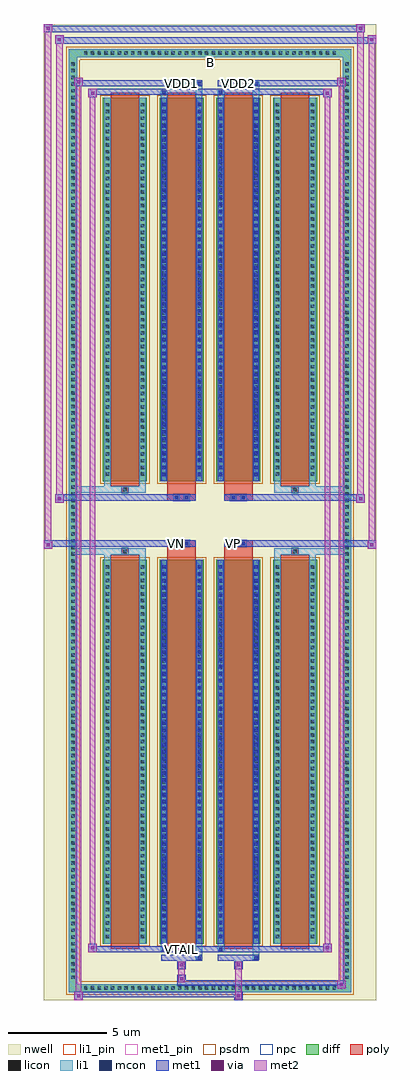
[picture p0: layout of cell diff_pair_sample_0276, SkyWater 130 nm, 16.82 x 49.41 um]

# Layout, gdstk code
import gdstk
lib = gdstk.Library(unit=1e-6, precision=5e-09)
def R(c, l, rs):  # rectangles x0, y0, x1, y1
    for r in rs: c.add(gdstk.rectangle(r[:2], r[2:], *l))
def A(c, l, x, y, w, h, nx, ny, dx, dy):  # array of equal rectangles
    R(c, l, [(x+i*dx, y+j*dy, x+i*dx+w, y+j*dy+h) for i in range(nx) for j in range(ny)])
def P(c, l, *ps):  # polygons
    for p in ps: c.add(gdstk.Polygon(p, *l))
nwell = (64, 20)
diff = (65, 20)
poly = (66, 20)
licon = (66, 44)
li1_pin = (67, 16)
li1 = (67, 20)
mcon = (67, 44)
met1_pin = (68, 16)
met1 = (68, 20)
via = (68, 44)
met2 = (69, 20)
psdm = (94, 20)
npc = (95, 20)

diff_pair_sample_0276 = lib.new_cell('diff_pair_sample_0276')
R(diff_pair_sample_0276, nwell, [(-8.41,-24.27,8.41,25.14), (-5.73,-22.46,-0.01,-0.8), (0.01,-22.46,5.73,-0.8), (-5.73,0.8,-0.01,22.46), (0.01,0.8,5.73,22.46)])
A(diff_pair_sample_0276, diff, -6.495, -23.87, 0.41, 0.41, 38, 2, 0.34, 47.33)
A(diff_pair_sample_0276, diff, -7.14, -23.325, 0.41, 0.41, 1, 137, 0, 0.34)
A(diff_pair_sample_0276, diff, 6.73, -23.325, 0.41, 0.41, 1, 137, 0, 0.34)
A(diff_pair_sample_0276, diff, -5.42, -21.415, 2.23, 19.43, 4, 2, 2.87, 23.4)
R(diff_pair_sample_0276, diff, [(-6.495,-23.87,6.495,-23.46), (-7.14,-23.325,-6.73,23.325), (6.73,-23.325,7.14,23.325), (-6.495,23.46,6.495,23.87)])
P(diff_pair_sample_0276, diff, [(7.14,23.87),(-7.14,23.87),(-7.14,-23.46),(-6.73,-23.46),(-6.73,23.46),(6.73,23.46),(6.73,-23.46),(-6.73,-23.46),(-7.14,-23.46),(-7.14,-23.87),(7.14,-23.87)])
A(diff_pair_sample_0276, poly, -5.03, -21.665, 1.45, 19.93, 4, 2, 2.87, 23.4)
R(diff_pair_sample_0276, poly, [(-4.47,-1.735,-4.14,-1.405), (-4.47,-1.735,-4.14,-1.405), (-2.16,-1.735,-0.71,-1.33), (0.71,-1.735,2.16,-1.33), (4.14,-1.735,4.47,-1.405), (4.14,-1.735,4.47,-1.405), (-2.16,-1.33,-0.71,-1), (-1.85,-1.33,-1.52,-1), (-1.35,-1.33,-1.02,-1), (0.71,-1.33,2.16,-1), (1.02,-1.33,1.35,-1), (1.52,-1.33,1.85,-1), (-2.16,1,-0.71,1.33), (-1.85,1,-1.52,1.33), (-1.35,1,-1.02,1.33), (0.71,1,2.16,1.33), (1.02,1,1.35,1.33), (1.52,1,1.85,1.33), (-2.16,1.33,-0.71,1.735), (0.71,1.33,2.16,1.735), (-4.47,1.405,-4.14,1.735), (-4.47,1.405,-4.14,1.735), (4.14,1.405,4.47,1.735), (4.14,1.405,4.47,1.735)])
A(diff_pair_sample_0276, licon, -6.375, -23.75, 0.17, 0.17, 38, 2, 0.34, 47.33)
A(diff_pair_sample_0276, licon, -7.02, -23.205, 0.17, 0.17, 1, 137, 0, 0.34)
A(diff_pair_sample_0276, licon, 6.85, -23.205, 0.17, 0.17, 1, 137, 0, 0.34)
A(diff_pair_sample_0276, licon, -5.28, -21.135, 0.17, 0.17, 1, 56, 0, 0.34)
A(diff_pair_sample_0276, licon, -3.5, -21.135, 0.17, 0.17, 1, 56, 0, 0.34)
A(diff_pair_sample_0276, licon, -2.41, -21.135, 0.17, 0.17, 1, 56, 0, 0.34)
A(diff_pair_sample_0276, licon, -0.63, -21.135, 0.17, 0.17, 1, 56, 0, 0.34)
A(diff_pair_sample_0276, licon, 0.46, -21.135, 0.17, 0.17, 1, 56, 0, 0.34)
A(diff_pair_sample_0276, licon, 2.24, -21.135, 0.17, 0.17, 1, 56, 0, 0.34)
A(diff_pair_sample_0276, licon, 3.33, -21.135, 0.17, 0.17, 1, 56, 0, 0.34)
A(diff_pair_sample_0276, licon, 5.11, -21.135, 0.17, 0.17, 1, 56, 0, 0.34)
A(diff_pair_sample_0276, licon, -5.28, 2.265, 0.17, 0.17, 1, 56, 0, 0.34)
A(diff_pair_sample_0276, licon, -3.5, 2.265, 0.17, 0.17, 1, 56, 0, 0.34)
A(diff_pair_sample_0276, licon, -2.41, 2.265, 0.17, 0.17, 1, 56, 0, 0.34)
A(diff_pair_sample_0276, licon, -0.63, 2.265, 0.17, 0.17, 1, 56, 0, 0.34)
A(diff_pair_sample_0276, licon, 0.46, 2.265, 0.17, 0.17, 1, 56, 0, 0.34)
A(diff_pair_sample_0276, licon, 2.24, 2.265, 0.17, 0.17, 1, 56, 0, 0.34)
A(diff_pair_sample_0276, licon, 3.33, 2.265, 0.17, 0.17, 1, 56, 0, 0.34)
A(diff_pair_sample_0276, licon, 5.11, 2.265, 0.17, 0.17, 1, 56, 0, 0.34)
R(diff_pair_sample_0276, licon, [(-4.39,-1.655,-4.22,-1.485), (4.22,-1.655,4.39,-1.485), (-1.77,-1.25,-1.6,-1.08), (-1.27,-1.25,-1.1,-1.08), (1.1,-1.25,1.27,-1.08), (1.6,-1.25,1.77,-1.08), (-1.77,1.08,-1.6,1.25), (-1.27,1.08,-1.1,1.25), (1.1,1.08,1.27,1.25), (1.6,1.08,1.77,1.25), (-4.39,1.485,-4.22,1.655), (4.22,1.485,4.39,1.655)])
R(diff_pair_sample_0276, li1_pin, [(-0.25,22.96,0.25,23.46)])
A(diff_pair_sample_0276, li1, -6.455, -23.83, 0.33, 0.33, 38, 2, 0.34, 47.33)
A(diff_pair_sample_0276, li1, -7.1, -23.285, 0.33, 0.33, 1, 137, 0, 0.34)
A(diff_pair_sample_0276, li1, 6.77, -23.285, 0.33, 0.33, 1, 137, 0, 0.34)
A(diff_pair_sample_0276, li1, -5.36, -21.215, 0.33, 0.33, 1, 56, 0, 0.34)
A(diff_pair_sample_0276, li1, -3.58, -21.215, 0.33, 0.33, 1, 56, 0, 0.34)
A(diff_pair_sample_0276, li1, -2.49, -21.215, 0.33, 0.33, 1, 56, 0, 0.34)
A(diff_pair_sample_0276, li1, -0.71, -21.215, 0.33, 0.33, 1, 56, 0, 0.34)
A(diff_pair_sample_0276, li1, 0.38, -21.215, 0.33, 0.33, 1, 56, 0, 0.34)
A(diff_pair_sample_0276, li1, 2.16, -21.215, 0.33, 0.33, 1, 56, 0, 0.34)
A(diff_pair_sample_0276, li1, 3.25, -21.215, 0.33, 0.33, 1, 56, 0, 0.34)
A(diff_pair_sample_0276, li1, 5.03, -21.215, 0.33, 0.33, 1, 56, 0, 0.34)
A(diff_pair_sample_0276, li1, -2.41, -21.145, 0.17, 0.17, 1, 53, 0, 0.36)
A(diff_pair_sample_0276, li1, -0.63, -21.145, 0.17, 0.17, 1, 53, 0, 0.36)
A(diff_pair_sample_0276, li1, 0.46, -21.145, 0.17, 0.17, 1, 53, 0, 0.36)
A(diff_pair_sample_0276, li1, 2.24, -21.145, 0.17, 0.17, 1, 53, 0, 0.36)
A(diff_pair_sample_0276, li1, -5.36, 2.185, 0.33, 0.33, 1, 56, 0, 0.34)
A(diff_pair_sample_0276, li1, -3.58, 2.185, 0.33, 0.33, 1, 56, 0, 0.34)
A(diff_pair_sample_0276, li1, -2.49, 2.185, 0.33, 0.33, 1, 56, 0, 0.34)
A(diff_pair_sample_0276, li1, -0.71, 2.185, 0.33, 0.33, 1, 56, 0, 0.34)
A(diff_pair_sample_0276, li1, 0.38, 2.185, 0.33, 0.33, 1, 56, 0, 0.34)
A(diff_pair_sample_0276, li1, 2.16, 2.185, 0.33, 0.33, 1, 56, 0, 0.34)
A(diff_pair_sample_0276, li1, 3.25, 2.185, 0.33, 0.33, 1, 56, 0, 0.34)
A(diff_pair_sample_0276, li1, 5.03, 2.185, 0.33, 0.33, 1, 56, 0, 0.34)
A(diff_pair_sample_0276, li1, -2.41, 2.255, 0.17, 0.17, 1, 53, 0, 0.36)
A(diff_pair_sample_0276, li1, -0.63, 2.255, 0.17, 0.17, 1, 53, 0, 0.36)
A(diff_pair_sample_0276, li1, 0.46, 2.255, 0.17, 0.17, 1, 53, 0, 0.36)
A(diff_pair_sample_0276, li1, 2.24, 2.255, 0.17, 0.17, 1, 53, 0, 0.36)
R(diff_pair_sample_0276, li1, [(-7.14,-23.87,-6.73,-23.46), (-7.14,-23.87,-6.73,-23.46), (-6.73,-23.87,6.73,-23.46), (6.73,-23.87,7.14,-23.46), (6.73,-23.87,7.14,-23.46), (-7.14,-23.46,-6.73,23.46), (6.73,-23.46,7.14,23.46), (-0.71,-22.22,-0.38,-21.415), (-0.63,-22.22,-0.46,-22.05), (2.16,-22.22,2.49,-21.415), (2.24,-22.22,2.41,-22.05), (-2.49,-21.79,-2.16,-21.415), (-2.41,-21.79,-2.24,-21.62), (0.38,-21.79,0.71,-21.415), (0.46,-21.79,0.63,-21.62), (-5.36,-21.415,-5.03,-1.985), (-3.58,-21.415,-3.25,-1.985), (-2.49,-21.415,-2.16,-1.985), (-0.71,-21.415,-0.38,-1.985), (0.38,-21.415,0.71,-1.985), (2.16,-21.415,2.49,-1.985), (3.25,-21.415,3.58,-1.985), (5.03,-21.415,5.36,-1.985), (-2.41,-21.145,-2.24,-2.255), (-0.63,-21.145,-0.46,-2.255), (0.46,-21.145,0.63,-2.255), (2.24,-21.145,2.41,-2.255), (-5.36,-1.985,-5.03,-1.405), (-3.58,-1.985,-3.25,-1.405), (3.25,-1.985,3.58,-1.405), (5.03,-1.985,5.36,-1.405), (-7.14,-1.735,-4.47,-1.405), (-5.36,-1.735,-4.47,-1.405), (-4.47,-1.735,-4.14,-1.405), (-4.14,-1.735,-3.25,-1.405), (3.25,-1.735,4.14,-1.405), (4.14,-1.735,4.47,-1.405), (4.14,-1.735,7.14,-1.405), (4.47,-1.735,5.36,-1.405), (-1.85,-1.33,-1.52,-1), (-1.35,-1.33,-1.02,-1), (1.02,-1.33,1.35,-1), (1.52,-1.33,1.85,-1), (-1.85,1,-1.52,1.33), (-1.35,1,-1.02,1.33), (1.02,1,1.35,1.33), (1.52,1,1.85,1.33), (-7.14,1.405,-4.47,1.735), (-5.36,1.405,-4.47,1.735), (-5.36,1.405,-5.03,1.985), (-4.47,1.405,-4.14,1.735), (-4.14,1.405,-3.25,1.735), (-3.58,1.405,-3.25,1.985), (3.25,1.405,4.14,1.735), (3.25,1.405,3.58,1.985), (4.14,1.405,4.47,1.735), (4.14,1.405,7.14,1.735), (4.47,1.405,5.36,1.735), (5.03,1.405,5.36,1.985), (-5.36,1.985,-5.03,21.415), (-3.58,1.985,-3.25,21.415), (-2.49,1.985,-2.16,21.415), (-0.71,1.985,-0.38,21.415), (0.38,1.985,0.71,21.415), (2.16,1.985,2.49,21.415), (3.25,1.985,3.58,21.415), (5.03,1.985,5.36,21.415), (-2.41,2.255,-2.24,21.145), (-0.63,2.255,-0.46,21.145), (0.46,2.255,0.63,21.145), (2.24,2.255,2.41,21.145), (-2.49,21.415,-2.16,21.79), (-0.71,21.415,-0.38,22.22), (0.38,21.415,0.71,21.79), (2.16,21.415,2.49,22.22), (-2.41,21.62,-2.24,21.79), (0.46,21.62,0.63,21.79), (-0.63,22.05,-0.46,22.22), (2.24,22.05,2.41,22.22), (-7.14,23.46,-6.73,23.87), (-7.14,23.46,-6.73,23.87), (-6.73,23.46,6.73,23.87), (6.73,23.46,7.14,23.87), (6.73,23.46,7.14,23.87)])
A(diff_pair_sample_0276, mcon, -2.41, -21.145, 0.17, 0.17, 1, 53, 0, 0.36)
A(diff_pair_sample_0276, mcon, -0.63, -21.145, 0.17, 0.17, 1, 53, 0, 0.36)
A(diff_pair_sample_0276, mcon, 0.46, -21.145, 0.17, 0.17, 1, 53, 0, 0.36)
A(diff_pair_sample_0276, mcon, 2.24, -21.145, 0.17, 0.17, 1, 53, 0, 0.36)
A(diff_pair_sample_0276, mcon, -2.41, 2.255, 0.17, 0.17, 1, 53, 0, 0.36)
A(diff_pair_sample_0276, mcon, -0.63, 2.255, 0.17, 0.17, 1, 53, 0, 0.36)
A(diff_pair_sample_0276, mcon, 0.46, 2.255, 0.17, 0.17, 1, 53, 0, 0.36)
A(diff_pair_sample_0276, mcon, 2.24, 2.255, 0.17, 0.17, 1, 53, 0, 0.36)
R(diff_pair_sample_0276, mcon, [(-0.63,-22.22,-0.46,-22.05), (2.24,-22.22,2.41,-22.05), (-2.41,-21.79,-2.24,-21.62), (0.46,-21.79,0.63,-21.62), (-1.77,-1.25,-1.6,-1.08), (-1.27,-1.25,-1.1,-1.08), (1.1,-1.25,1.27,-1.08), (1.6,-1.25,1.77,-1.08), (-1.77,1.08,-1.6,1.25), (-1.27,1.08,-1.1,1.25), (1.1,1.08,1.27,1.25), (1.6,1.08,1.77,1.25), (-2.41,21.62,-2.24,21.79), (0.46,21.62,0.63,21.79), (-0.63,22.05,-0.46,22.22), (2.24,22.05,2.41,22.22)])
R(diff_pair_sample_0276, met1_pin, [(-1.57,-21.83,-1.3,-21.56), (-1.82,-1.29,-1.55,-1.02), (1.05,-1.29,1.32,-1.02), (-1.57,22.01,-1.3,22.28), (1.3,22.01,1.57,22.28)])
A(diff_pair_sample_0276, met1, -2.47, -21.205, 0.29, 0.29, 1, 53, 0, 0.36)
A(diff_pair_sample_0276, met1, -0.69, -21.205, 0.29, 0.29, 1, 53, 0, 0.36)
A(diff_pair_sample_0276, met1, 0.4, -21.205, 0.29, 0.29, 1, 53, 0, 0.36)
A(diff_pair_sample_0276, met1, 2.18, -21.205, 0.29, 0.29, 1, 53, 0, 0.36)
A(diff_pair_sample_0276, met1, -2.47, 2.195, 0.29, 0.29, 1, 53, 0, 0.36)
A(diff_pair_sample_0276, met1, -0.69, 2.195, 0.29, 0.29, 1, 53, 0, 0.36)
A(diff_pair_sample_0276, met1, 0.4, 2.195, 0.29, 0.29, 1, 53, 0, 0.36)
A(diff_pair_sample_0276, met1, 2.18, 2.195, 0.29, 0.29, 1, 53, 0, 0.36)
R(diff_pair_sample_0276, met1, [(-6.87,-24.27,-6.44,-23.84), (1.22,-24.27,1.65,-23.84), (-6.87,-24.13,1.65,-23.84), (6.44,-23.7,6.87,-23.27), (-1.65,-23.56,6.87,-23.27), (-1.65,-23.42,-1.22,-22.99), (-1.65,-22.71,-1.22,-22.28), (1.22,-22.71,1.65,-22.28), (-2.47,-22.28,-0.4,-21.99), (-0.69,-22.28,-0.4,-21.99), (0.4,-22.28,2.47,-21.99), (2.18,-22.28,2.47,-21.99), (-6.16,-21.85,-5.73,-21.42), (-6.16,-21.85,-2.47,-21.56), (-2.47,-21.85,-2.18,-21.56), (-2.47,-21.85,-0.4,-21.56), (-0.4,-21.85,0.4,-21.56), (0.4,-21.85,0.69,-21.56), (0.4,-21.85,2.47,-21.56), (2.47,-21.85,6.16,-21.56), (5.73,-21.85,6.16,-21.42), (-2.47,-21.415,-2.18,-1.985), (-0.69,-21.415,-0.4,-1.985), (0.4,-21.415,0.69,-1.985), (2.18,-21.415,2.47,-1.985), (-8.41,-1.43,-7.98,-1), (7.98,-1.43,8.41,-1), (-8.41,-1.33,-0.71,-1), (-2.16,-1.33,-0.71,-1), (0.71,-1.33,2.16,-1), (0.71,-1.33,8.41,-1), (-1.83,-1.31,-1.54,-1.02), (-1.33,-1.31,-1.04,-1.02), (1.04,-1.31,1.33,-1.02), (1.54,-1.31,1.83,-1.02), (-7.84,0.9,-7.41,1.33), (7.41,0.9,7.84,1.33), (-7.84,1,-2.16,1.33), (-2.16,1,-0.71,1.33), (0.71,1,2.16,1.33), (2.16,1,7.84,1.33), (-1.83,1.02,-1.54,1.31), (-1.33,1.02,-1.04,1.31), (1.04,1.02,1.33,1.31), (1.54,1.02,1.83,1.31), (-2.47,1.985,-2.18,21.415), (-0.69,1.985,-0.4,21.415), (0.4,1.985,0.69,21.415), (2.18,1.985,2.47,21.415), (-6.16,21.42,-5.73,21.85), (5.73,21.42,6.16,21.85), (-6.16,21.56,-2.47,21.85), (-2.47,21.56,-2.18,21.85), (-2.47,21.56,-0.4,21.85), (-0.4,21.56,0.4,21.85), (0.4,21.56,0.69,21.85), (0.4,21.56,2.47,21.85), (2.47,21.56,6.16,21.85), (-6.87,21.99,-6.44,22.42), (-6.87,21.99,-2.47,22.28), (-2.47,21.99,-0.4,22.28), (-0.69,21.99,-0.4,22.28), (0.4,21.99,2.47,22.28), (2.18,21.99,2.47,22.28), (2.47,21.99,6.87,22.28), (6.44,21.99,6.87,22.42), (-7.84,24.14,-7.41,24.57), (-7.84,24.14,-5.73,24.47), (-5.73,24.14,5.73,24.47), (5.73,24.14,8.41,24.47), (7.98,24.14,8.41,24.57), (-8.41,24.71,-7.98,25.14), (-8.41,24.71,-5.73,25.04), (-5.73,24.71,5.73,25.04), (5.73,24.71,7.84,25.04), (7.41,24.71,7.84,25.14)])
R(diff_pair_sample_0276, via, [(-6.73,-24.13,-6.58,-23.98), (1.36,-24.13,1.51,-23.98), (6.58,-23.56,6.73,-23.41), (-1.51,-23.28,-1.36,-23.13), (-1.51,-22.57,-1.36,-22.42), (1.36,-22.57,1.51,-22.42), (-6.02,-21.71,-5.87,-21.56), (5.87,-21.71,6.02,-21.56), (-8.27,-1.29,-8.12,-1.14), (8.12,-1.29,8.27,-1.14), (-7.7,1.04,-7.55,1.19), (7.55,1.04,7.7,1.19), (-6.02,21.56,-5.87,21.71), (5.87,21.56,6.02,21.71), (-6.73,22.13,-6.58,22.28), (6.58,22.13,6.73,22.28), (-7.7,24.28,-7.55,24.43), (8.12,24.28,8.27,24.43), (-8.27,24.85,-8.12,25), (7.55,24.85,7.7,25)])
R(diff_pair_sample_0276, met2, [(-6.87,-24.27,-6.44,-23.84), (-6.8,-24.27,-6.51,22.42), (-6.51,-24.27,-6.44,-23.84), (-6.82,-24.22,-6.49,-23.89), (1.27,-24.22,1.6,-23.89), (1.27,-23.89,1.6,-22.66), (6.44,-23.7,6.87,-23.27), (6.51,-23.7,6.8,22.42), (6.8,-23.7,6.87,-23.27), (6.49,-23.65,6.82,-23.32), (-1.6,-23.37,-1.27,-23.04), (-1.6,-23.04,-1.27,-22.66), (-1.6,-22.66,-1.27,-22.33), (1.27,-22.66,1.6,-22.33), (-6.16,-21.85,-5.73,-21.42), (-6.09,-21.85,-5.8,21.85), (-5.8,-21.85,-5.73,-21.42), (5.73,-21.85,6.16,-21.42), (5.8,-21.85,6.09,21.85), (6.09,-21.85,6.16,-21.42), (-6.11,-21.8,-5.78,-21.47), (5.78,-21.8,6.11,-21.47), (-8.41,-1.43,-7.98,-1), (-8.36,-1.43,-8.03,25.14), (-8.03,-1.43,-7.98,-1), (7.98,-1.43,8.41,-1), (8.03,-1.43,8.36,24.57), (8.36,-1.43,8.41,-1), (-8.36,-1.38,-8.03,-1.05), (8.03,-1.38,8.36,-1.05), (-7.84,0.9,-7.41,1.33), (-7.79,0.9,-7.46,24.57), (-7.46,0.9,-7.41,1.33), (7.41,0.9,7.84,1.33), (7.46,0.9,7.79,25.14), (7.79,0.9,7.84,1.33), (-7.79,0.95,-7.46,1.28), (7.46,0.95,7.79,1.28), (-6.16,21.42,-5.73,21.85), (-5.8,21.42,-5.73,21.85), (5.73,21.42,6.16,21.85), (6.09,21.42,6.16,21.85), (-6.11,21.47,-5.78,21.8), (5.78,21.47,6.11,21.8), (-6.87,21.99,-6.44,22.42), (-6.51,21.99,-6.44,22.42), (6.44,21.99,6.87,22.42), (6.8,21.99,6.87,22.42), (-6.82,22.04,-6.49,22.37), (6.49,22.04,6.82,22.37), (-7.84,24.14,-7.41,24.57), (-7.46,24.14,-7.41,24.57), (7.98,24.14,8.41,24.57), (8.36,24.14,8.41,24.57), (-7.79,24.19,-7.46,24.52), (8.03,24.19,8.36,24.52), (-8.41,24.71,-7.98,25.14), (-8.03,24.71,-7.98,25.14), (7.41,24.71,7.84,25.14), (7.79,24.71,7.84,25.14), (-8.36,24.76,-8.03,25.09), (7.46,24.76,7.79,25.09)])
A(diff_pair_sample_0276, psdm, -5.55, -21.545, 2.49, 19.69, 4, 2, 2.87, 23.4)
P(diff_pair_sample_0276, psdm, [(7.27,24),(-7.27,24),(-7.27,-23.33),(-6.6,-23.33),(-6.6,23.33),(6.6,23.33),(6.6,-23.33),(-6.6,-23.33),(-7.27,-23.33),(-7.27,-24),(7.27,-24)])
R(diff_pair_sample_0276, npc, [(-4.49,-1.755,-4.12,-1.385), (4.12,-1.755,4.49,-1.385), (-1.87,-1.35,-1.5,-0.98), (-1.87,-1.35,-1,-0.98), (-1.87,-1.35,-1,-0.98), (-1.37,-1.35,-1,-0.98), (1,-1.35,1.37,-0.98), (1,-1.35,1.87,-0.98), (1,-1.35,1.87,-0.98), (1.5,-1.35,1.87,-0.98), (-1.87,0.98,-1.5,1.35), (-1.87,0.98,-1,1.35), (-1.87,0.98,-1,1.35), (-1.37,0.98,-1,1.35), (1,0.98,1.37,1.35), (1,0.98,1.87,1.35), (1,0.98,1.87,1.35), (1.5,0.98,1.87,1.35), (-4.49,1.385,-4.12,1.755), (4.12,1.385,4.49,1.755)])
diff_pair_sample_0276.add(gdstk.Label('VTAIL', (-1.435,-21.695), layer=68, texttype=5))
diff_pair_sample_0276.add(gdstk.Label('VN', (-1.685,-1.155), layer=68, texttype=5))
diff_pair_sample_0276.add(gdstk.Label('VP', (1.185,-1.155), layer=68, texttype=5))
diff_pair_sample_0276.add(gdstk.Label('B', (0,23.21), layer=67, texttype=5))
diff_pair_sample_0276.add(gdstk.Label('VDD2', (1.435,22.145), layer=68, texttype=5))
diff_pair_sample_0276.add(gdstk.Label('VDD1', (-1.435,22.145), layer=68, texttype=5))

lib.write_gds('diff_pair_sample_0276.gds')
